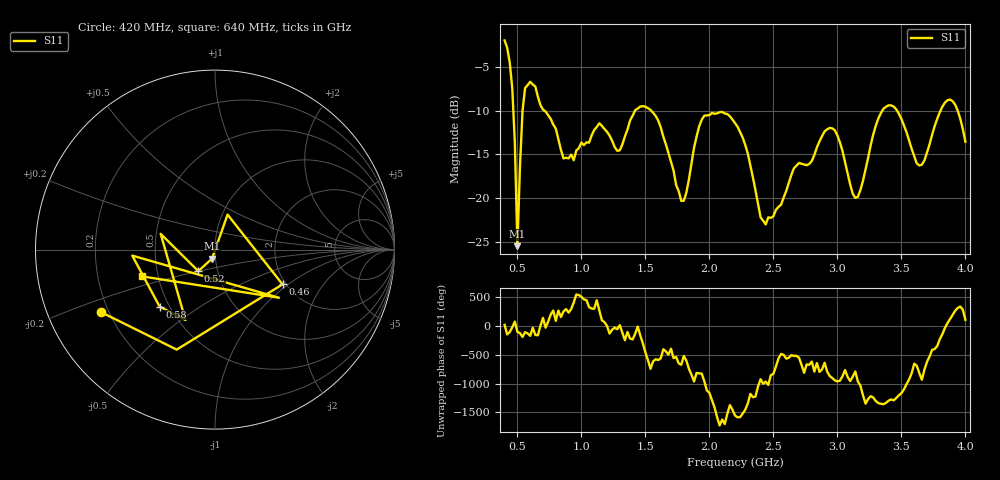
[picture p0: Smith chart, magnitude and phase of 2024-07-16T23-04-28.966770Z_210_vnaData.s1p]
!Created with skrf (http://scikit-rf.org).
# Hz S RI R 50.0
!freq ReS11 ImS11
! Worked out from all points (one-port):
!   181 points, 400 MHz to 4 GHz, reference 50 ohm
!   lowest |S11| = -25.5 dB at 500 MHz (marker M1), VSWR 1.11, Z = 48.1 - j4.86 ohm
!   |S11| at or under -10 dB: 710.2 MHz to 1.419 GHz (708.3 MHz wide, 66.6 % of centre); 1.545 GHz to 3.351 GHz (1.807 GHz wide, 73.8 % of centre); 3.466 GHz to 3.806 GHz (340 MHz wide, 9.35 % of centre) (the widest 3 of 5)
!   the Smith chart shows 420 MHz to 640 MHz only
!   S11 on the Smith chart (normalised r, x): 420 MHz: 0.17, -0.25; 460 MHz: 1.92, -0.91; 520 MHz: 0.81, -0.20; 580 MHz: 0.44, -0.35; 640 MHz: 0.40, -0.15
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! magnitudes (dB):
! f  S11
! 400 MHz  -2.0
! 420 MHz  -2.8
! 460 MHz  -7.5
! 480 MHz  -13.7
! 500 MHz  -25.5
! 520 MHz  -16.4
! 540 MHz  -10.0
! 580 MHz  -7.1
! 640 MHz  -7.2
! 860 MHz  -15.5
! 1.14 GHz  -11.4
! 1.3 GHz  -14.5
! 1.42 GHz  -10.0
! 1.54 GHz  -9.9
! 1.76 GHz  -19.2
! 1.8 GHz  -20.3
! 1.96 GHz  -10.6
! 2.2 GHz  -11.4
! 2.44 GHz  -23.0
! 2.66 GHz  -16.6
! 2.96 GHz  -12.0
! 3.1 GHz  -18.5
! 3.16 GHz  -19.9
! 3.38 GHz  -9.6
! 3.56 GHz  -13.4
! 3.66 GHz  -16.2
! 3.88 GHz  -8.7
! 4 GHz  -13.6
